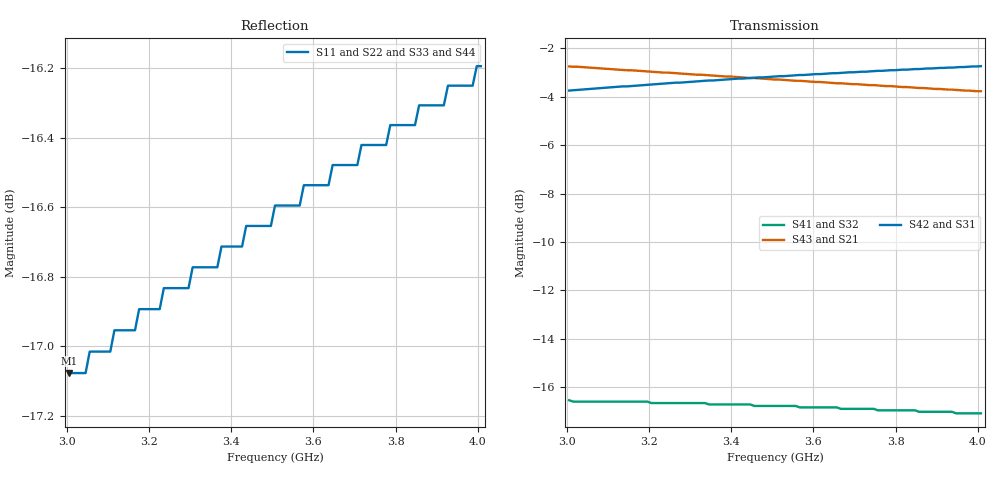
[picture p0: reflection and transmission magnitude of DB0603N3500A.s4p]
!	AVX THIN FILM OPERATION
!	0603 SIZE 3dB 90deg COUPLER P/N DB0603N3500ANTR
!	Created August 2007
!	Network Analyzer HP8720E S.07.64: Feb23, 2000 Serial No.US39172382
#	MHZ	S	MA	R	50
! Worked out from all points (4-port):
!   101 points, 3.005 GHz to 4.008 GHz, reference 50 ohm
!   strongest paths, dB at 3.005 GHz, 3.256 GHz, 3.506 GHz, 3.757 GHz, 4.008 GHz:
!     S42: -3.7, -3.4, -3.2, -2.9, -2.7
!     S31: -3.8, -3.5, -3.2, -3.0, -2.8
!     S43: -2.7, -3.0, -3.3, -3.5, -3.8
!     S21: -2.7, -3.0, -3.3, -3.5, -3.8
!     S41: -16.5, -16.7, -16.8, -17.0, -17.1
!     S32: -16.5, -16.7, -16.8, -17.0, -17.1
!   lowest |S11| = -17.1 dB at 3.005 GHz (marker M1), VSWR 1.33, Z = 38.1 + j3.3 ohm
!   |S11| at or under -10 dB: start of sweep to end of sweep
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3005.013  0.14 162.3  0.729 -45.6  0.648 42.0  0.149 17.6
          0.729 -45.6  0.141 162.8  0.149 17.6  0.65 42.0
          0.648 42.0  0.149 17.6  0.14 162.3  0.729 -45.6
          0.149 17.6  0.65 42.0  0.729 -45.6  0.141 162.8
3015.038  0.14 162.1  0.728 -45.7  0.649 41.9  0.148 17.5
          0.728 -45.7  0.141 162.5  0.148 17.5  0.651 41.9
          0.649 41.9  0.148 17.5  0.14 162.1  0.728 -45.7
          0.148 17.5  0.651 41.9  0.728 -45.7  0.141 162.5
3195.489  0.143 157.7  0.712 -47.5  0.667 40.2  0.148 15.8
          0.712 -47.5  0.144 158.3  0.148 15.8  0.668 40.2
          0.667 40.2  0.148 15.8  0.143 157.7  0.712 -47.5
          0.148 15.8  0.668 40.2  0.712 -47.5  0.144 158.3
3205.514  0.143 157.5  0.711 -47.6  0.667 40.1  0.147 15.7
          0.711 -47.6  0.144 158.0  0.147 15.7  0.669 40.1
          0.667 40.1  0.147 15.7  0.143 157.5  0.711 -47.6
          0.147 15.7  0.669 40.1  0.711 -47.6  0.144 158.0
3335.84  0.145 154.5  0.7 -48.8  0.679 39.0  0.147 14.6
         0.7 -48.8  0.146 155.1  0.147 14.6  0.681 38.9
         0.679 39.0  0.147 14.6  0.145 154.5  0.7 -48.8
         0.147 14.6  0.681 38.9  0.7 -48.8  0.146 155.1
3516.291  0.148 150.5  0.685 -50.4  0.694 37.4  0.145 13.4
          0.685 -50.4  0.149 151.2  0.145 13.4  0.696 37.4
          0.694 37.4  0.145 13.4  0.148 150.5  0.685 -50.4
          0.145 13.4  0.696 37.4  0.685 -50.4  0.149 151.2
4007.519  0.155 140.3  0.648 -54.5  0.727 33.5  0.14 11.4
          0.648 -54.5  0.156 141.2  0.14 11.4  0.73 33.4
          0.727 33.5  0.14 11.4  0.155 140.3  0.648 -54.5
          0.14 11.4  0.73 33.4  0.648 -54.5  0.156 141.2
